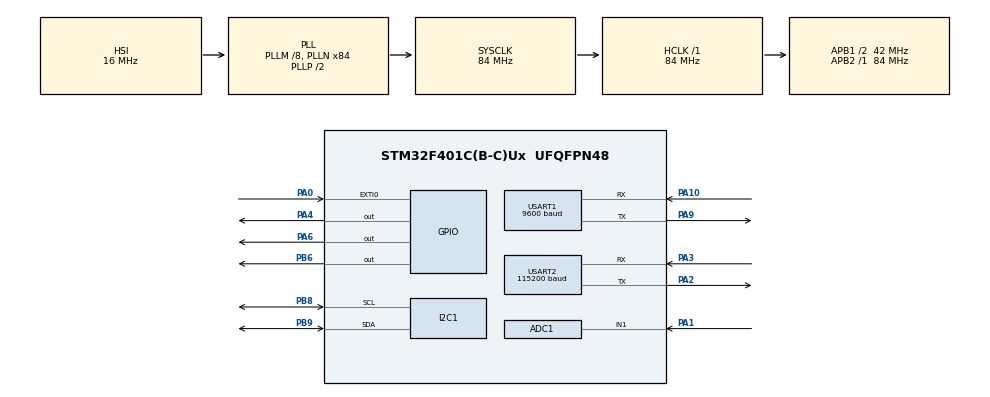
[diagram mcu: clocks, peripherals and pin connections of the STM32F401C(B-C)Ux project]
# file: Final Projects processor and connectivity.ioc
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ADC1.Channel-0\#ChannelRegularConversion=ADC_CHANNEL_1
ADC1.NbrOfConversionFlag=1
ADC1.Rank-0\#ChannelRegularConversion=1
ADC1.SamplingTime-0\#ChannelRegularConversion=ADC_SAMPLETIME_3CYCLES
ADC1.master=1
I2C1.I2C_Mode=I2C_Fast
Mcu.Family=STM32F4
Mcu.Name=STM32F401C(B-C)Ux
Mcu.Package=UFQFPN48
NVIC.EXTI0_IRQn=true\:0\:0\:false\:false\:true\:true\:true\:true
NVIC.PriorityGroup=NVIC_PRIORITYGROUP_4
NVIC.USART1_IRQn=true\:0\:0\:false\:false\:true\:true\:true\:true
PA0-WKUP.Signal=GPXTI0
PA1.Signal=ADCx_IN1
PA10.Mode=Asynchronous
PA10.Signal=USART1_RX
PA13.Mode=Serial_Wire
PA13.Signal=SYS_JTMS-SWDIO
PA14.Mode=Serial_Wire
PA14.Signal=SYS_JTCK-SWCLK
PA2.Mode=Asynchronous
PA2.Signal=USART2_TX
PA3.Mode=Asynchronous
PA3.Signal=USART2_RX
PA4.GPIO_Speed=GPIO_SPEED_FREQ_VERY_HIGH
PA4.Signal=GPIO_Output
PA6.GPIO_Speed=GPIO_SPEED_FREQ_VERY_HIGH
PA6.Signal=GPIO_Output
PA9.Mode=Asynchronous
PA9.Signal=USART1_TX
PB6.Signal=GPIO_Output
PB8.Mode=I2C
PB8.Signal=I2C1_SCL
PB9.Mode=I2C
PB9.Signal=I2C1_SDA
ProjectManager.HeapSize=0x200
ProjectManager.StackSize=0x400
ProjectManager.TargetToolchain=STM32CubeIDE
RCC.48MHZClocksFreq_Value=42000000
RCC.AHBFreq_Value=84000000
RCC.APB1CLKDivider=RCC_HCLK_DIV2
RCC.APB1Freq_Value=42000000
RCC.APB1TimFreq_Value=84000000
RCC.APB2Freq_Value=84000000
RCC.APB2TimFreq_Value=84000000
RCC.CortexFreq_Value=84000000
RCC.HCLKFreq_Value=84000000
RCC.HSE_VALUE=25000000
RCC.HSI_VALUE=16000000
RCC.LSE_VALUE=32768
RCC.PLLM=8
RCC.PLLN=84
RCC.SYSCLKFreq_VALUE=84000000
RCC.SYSCLKSource=RCC_SYSCLKSOURCE_PLLCLK
RCC.VCOOutputFreq_Value=168000000
SH.ADCx_IN1.0=ADC1_IN1,IN1
TIM1.Period=0xffff-1
TIM1.Prescaler=83
USART1.BaudRate=9600
USART1.VirtualMode=VM_ASYNC
USART2.BaudRate=115200
USART2.VirtualMode=VM_ASYNC
VP_TIM1_VS_ClockSourceINT.Mode=Internal
board=custom

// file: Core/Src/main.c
/* USER CODE BEGIN Header */
/**
  ******************************************************************************
  * @file           : main.c
  * @brief          : Main program body
  ******************************************************************************
  * @attention
  *
  * Copyright (c) 2025 STMicroelectronics.
  * All rights reserved.
  *
  * This software is licensed under terms that can be found in the LICENSE file
  * in the root directory of this software component.
  * If no LICENSE file comes with this software, it is provided AS-IS.
  *
  ******************************************************************************
  */
/* USER CODE END Header */
#include "main.h"

/* USER CODE BEGIN Includes */
#include "a7680c.h"
#include "ws2812b.h"  // Add this new include
#include "ssd1306.h"
#include "ssd1306_fonts.h"
#include <stdio.h>
#include <string.h>
/* USER CODE END Includes */

/* USER CODE BEGIN PTD */
typedef enum {
    STATE_NORMAL = 0,
    STATE_INTERRUPT,
	STATE_HOUSEFIRE
} SystemState;
/* USER CODE END PTD */

/* USER CODE BEGIN PD */
#define DHT11_PORT GPIOA
#define DHT11_PIN GPIO_PIN_4

#define PMS_FRAME_LENGTH 32  // PMS7003 truyền mỗi lần 32 byte
#define PMS_HEADER_HIGH   0x42
#define PMS_HEADER_LOW    0x4D

// WS2812B definitions
#define WS2812B_PORT GPIOA
#define WS2812B_PIN GPIO_PIN_6
#define WS2812B_NUM_LEDS 12

#define ADC_TIMEOUT      10
#define ADC_FIRE_THRESH  4000
/* USER CODE END PD */

/* USER CODE BEGIN PM */

volatile SystemState currentState = STATE_NORMAL;

/* USER CODE END PM */

ADC_HandleTypeDef hadc1;

I2C_HandleTypeDef hi2c1;

TIM_HandleTypeDef htim1;

UART_HandleTypeDef huart1;
UART_HandleTypeDef huart2;

/* USER CODE BEGIN PV */
uint8_t temp = 0, hum = 0;
char buffer[32];

uint8_t pms_rx_byte;
uint8_t pms_rx_buffer[PMS_FRAME_LENGTH];
uint8_t pms_index = 0;
uint32_t adc_val;
volatile bool pms_ready_flag = false;

A7680C_Handle sim4g;
/* USER CODE END PV */

void SystemClock_Config(void);
static void MX_GPIO_Init(void);
static void MX_I2C1_Init(void);
static void MX_USART1_UART_Init(void);
static void MX_USART2_UART_Init(void);
static void MX_TIM1_Init(void);
static void MX_ADC1_Init(void);

/* USER CODE BEGIN 0 */
/*********************************** DHT11 PRE FUNCTIONS ********************************************/

void delay_us (uint16_t us)
{
	__HAL_TIM_SET_COUNTER(&htim1,0);  // set the counter value a 0
	while (__HAL_TIM_GET_COUNTER(&htim1) < us);  // wait for the counter to reach the us input in the parameter
}
void DHT_SetPinOutput(void) {
    GPIO_InitTypeDef GPIO_InitStruct = {0};
    GPIO_InitStruct.Pin = DHT11_PIN;
    GPIO_InitStruct.Mode = GPIO_MODE_OUTPUT_PP;
    GPIO_InitStruct.Speed = GPIO_SPEED_FREQ_LOW;
    HAL_GPIO_Init(DHT11_PORT, &GPIO_InitStruct);
}

void DHT_SetPinInput(void) {
    GPIO_InitTypeDef GPIO_InitStruct = {0};
    GPIO_InitStruct.Pin = DHT11_PIN;
    GPIO_InitStruct.Mode = GPIO_MODE_INPUT;
    GPIO_InitStruct.Pull = GPIO_NOPULL;
    HAL_GPIO_Init(DHT11_PORT, &GPIO_InitStruct);
}

/*********************************** DHT11 FUNCTIONS ********************************************/

void DHT11_Start (void)
{

    DHT_SetPinOutput();
    HAL_GPIO_WritePin(DHT11_PORT, DHT11_PIN, GPIO_PIN_RESET);
    HAL_Delay(18);
    HAL_GPIO_WritePin(DHT11_PORT, DHT11_PIN, GPIO_PIN_SET);
    delay_us(30);
    DHT_SetPinInput();
}
void DHT11_Init(void) {
    // Set the DHT11 pin as output and pull high (idle state)
    GPIO_InitTypeDef GPIO_InitStruct = {0};
    GPIO_InitStruct.Pin = DHT11_PIN;
    GPIO_InitStruct.Mode = GPIO_MODE_OUTPUT_PP;
    GPIO_InitStruct.Pull = GPIO_NOPULL;
    GPIO_InitStruct.Speed = GPIO_SPEED_FREQ_LOW;
    HAL_GPIO_Init(DHT11_PORT, &GPIO_InitStruct);

    HAL_GPIO_WritePin(DHT11_PORT, DHT11_PIN, GPIO_PIN_SET);  // Set pin high
}

uint8_t DHT_Read(uint8_t* temperature, uint8_t* humidity) {
    uint8_t data[5] = {0};
    uint8_t i, j;
    uint16_t timeout;

    // Start Signal
    DHT11_Start();

    // Wait for DHT11 response (should go LOW)
    timeout = 0;
    while (HAL_GPIO_ReadPin(DHT11_PORT, DHT11_PIN)) {
        delay_us(1);
        timeout++;
        if (timeout > 100) return 1; // Timeout waiting for response
    }

    // Wait for DHT11 to pull up (80us LOW expected)
    timeout = 0;
    while (!HAL_GPIO_ReadPin(DHT11_PORT, DHT11_PIN)) {
        delay_us(1);
        timeout++;
        if (timeout > 100) return 2; // Timeout waiting for pull up
    }

    // Wait for DHT11 to pull down (80us HIGH expected)
    timeout = 0;
    while (HAL_GPIO_ReadPin(DHT11_PORT, DHT11_PIN)) {
        delay_us(1);
        timeout++;
        if (timeout > 100) return 3; // Timeout waiting for pull down
    }

    // Read 40 bits with better timeout handling
    for (j = 0; j < 5; j++) {
        for (i = 0; i < 8; i++) {
            // Wait for rising edge (signal start)
            timeout = 0;
            while (!HAL_GPIO_ReadPin(DHT11_PORT, DHT11_PIN)) {
                delay_us(1);
                timeout++;
                if (timeout > 60) return 4; // Timeout during bit start
            }

            // Wait ~40us and check pin state
            delay_us(40);

            if (HAL_GPIO_ReadPin(DHT11_PORT, DHT11_PIN))
                data[j] |= (1 << (7 - i));

            // Wait for falling edge (end of bit)
            timeout = 0;
            while (HAL_GPIO_ReadPin(DHT11_PORT, DHT11_PIN)) {
                delay_us(1);
                timeout++;
                if (timeout > 70) return 5; // Timeout during bit end
            }
        }
    }

    // Verify checksum
    if (data[4] != ((data[0] + data[1] + data[2] + data[3]) & 0xFF)) return 6;

    *humidity = data[0];
    *temperature = data[2];
    return 0;
}

/*********************************** PMS7003 FUNCTIONS ********************************************/

uint16_t extract_uint16(uint8_t *data, uint8_t index) {
    return ((uint16_t)data[index] << 8) | data[index + 1];
}

void parse_and_display_pms_data(uint8_t *data) {
    uint16_t pm1_0 = extract_uint16(data, 4);
    uint16_t pm2_5 = extract_uint16(data, 6);
    uint16_t pm10  = extract_uint16(data, 8);

    // Đánh dấu đã nhận được frame hợp lệ đầu tiên
    pms_ready_flag = true;

    // Chỉ cập nhật 3 dòng dữ liệu, tránh làm nhấp nháy toàn màn hình
    char line1[22], line2[22], line3[22];
    snprintf(line1, sizeof(line1), "PM1.0 : %4u ug/m3", pm1_0);
    snprintf(line2, sizeof(line2), "PM2.5 : %4u ug/m3", pm2_5);
    snprintf(line3, sizeof(line3), "PM10  : %4u ug/m3", pm10);

    // Xóa vùng 3 dòng (nếu cần) bằng cách viết khoảng trắng
    ssd1306_FillRectangle(0, 0, 127, 33, Black);

    // Viết lại dữ liệu mới
    ssd1306_SetCursor(0, 0);
    ssd1306_WriteString(line1, Font_7x10, White);
    ssd1306_SetCursor(0, 12);
    ssd1306_WriteString(line2, Font_7x10, White);
    ssd1306_SetCursor(0, 24);
    ssd1306_WriteString(line3, Font_7x10, White);

    ssd1306_UpdateScreen();
}
/**
 * @brief  Kiểm tra header + checksum của frame PMS7003, đồng thời align lại buffer nếu cần.
 * @param  buf: con trỏ đến buffer kích thước PMS_FRAME_LENGTH
 * @param  len: độ dài frame (32)
 * @retval true nếu frame hợp lệ, false nếu phải tìm frame tiếp theo
 */
bool check_and_align_pms_frame(uint8_t *buf, uint8_t len) {
    // 1) Kiểm tra header
    if (buf[0] != PMS_HEADER_HIGH || buf[1] != PMS_HEADER_LOW) {
        // Tìm vị trí header mới trong buffer
        for (int i = 1; i < len - 1; i++) {
            if (buf[i] == PMS_HEADER_HIGH && buf[i+1] == PMS_HEADER_LOW) {
                uint8_t remain = len - i;
                memmove(buf, buf + i, remain);
                pms_index = remain;
                return false;
            }
        }
        // không tìm được header, reset index
        pms_index = 0;
        return false;
    }

    // 2) Tính checksum
    uint16_t calculated = 0;
    for (int i = 0; i < len - 2; i++) {
        calculated += buf[i];
    }
    uint16_t received = extract_uint16(buf, len - 2);
    if (calculated != received) {
        // checksum sai -> tìm header mới
        for (int i = 1; i < len - 1; i++) {
            if (buf[i] == PMS_HEADER_HIGH && buf[i+1] == PMS_HEADER_LOW) {
                uint8_t remain = len - i;
                memmove(buf, buf + i, remain);
                pms_index = remain;
                return false;
            }
        }
        pms_index = 0;
        return false;
    }

    // Frame hợp lệ
    return true;
}

void HAL_UART_RxCpltCallback(UART_HandleTypeDef *huart) {
    if (huart->Instance == USART1) {
        pms_rx_buffer[pms_index++] = pms_rx_byte;

        if (pms_index >= PMS_FRAME_LENGTH) {
            if (check_and_align_pms_frame(pms_rx_buffer, PMS_FRAME_LENGTH)) {
                parse_and_display_pms_data(pms_rx_buffer);
                pms_index = 0;
            }
            // nếu không hợp lệ, pms_index đã được điều chỉnh bên trong hàm
        }

        HAL_UART_Receive_IT(&huart1, &pms_rx_byte, 1);
    }
}

/* USER CODE END 0 */

int main(void)
{

  /* MCU Configuration--------------------------------------------------------*/

  /* Reset of all peripherals, Initializes the Flash interface and the Systick. */
  HAL_Init();

  /* Configure the system clock */
  SystemClock_Config();

  /* Initialize all configured peripherals */
  MX_GPIO_Init();
  MX_I2C1_Init();
  MX_USART1_UART_Init();
  MX_USART2_UART_Init();
  MX_TIM1_Init();
  MX_ADC1_Init();
  /* USER CODE BEGIN 2 */
  WS2812B_Init(WS2812B_PORT, WS2812B_PIN);

  // Initial test pattern - light up all LEDs in rainbow pattern
  WS2812B_Rainbow(WS2812B_PORT, WS2812B_PIN, WS2812B_NUM_LEDS);
  HAL_Delay(1000);

  // Set all LEDs to red initially
  WS2812B_SetAllLEDs(WS2812B_PORT, WS2812B_PIN, RED, WS2812B_NUM_LEDS);

  // Set tất cả là màu đỏ
  ssd1306_Init();
  ssd1306_SetCursor(0, 0);
  ssd1306_WriteString("Initialize", Font_7x10, White);
  ssd1306_UpdateScreen();
  HAL_Delay(1000);

  ssd1306_Fill(Black);
  ssd1306_SetCursor(0, 0);
  ssd1306_WriteString("Module      Status", Font_7x10, White);
  ssd1306_SetCursor(0, 18);
  ssd1306_WriteString("DHT11          .", Font_7x10, White);
  ssd1306_SetCursor(0, 28);
  ssd1306_WriteString("A7680c         .", Font_7x10, White);
  ssd1306_SetCursor(0, 38);
  ssd1306_WriteString("SIM card       .", Font_7x10, White);
  ssd1306_SetCursor(0, 48);
  ssd1306_WriteString("PMS7003        .", Font_7x10, White);
  ssd1306_UpdateScreen();
  HAL_Delay(500);

  ssd1306_Fill(Black);
  ssd1306_SetCursor(0, 0);
  ssd1306_WriteString("Module      Status", Font_7x10, White);
  ssd1306_SetCursor(0, 18);
  ssd1306_WriteString("DHT11          ..", Font_7x10, White);
  ssd1306_SetCursor(0, 28);
  ssd1306_WriteString("A7680c         ..", Font_7x10, White);
  ssd1306_SetCursor(0, 38);
  ssd1306_WriteString("SIM card       ..", Font_7x10, White);
  ssd1306_SetCursor(0, 48);
  ssd1306_WriteString("PMS7003        ..", Font_7x10, White);
  ssd1306_UpdateScreen();
  HAL_Delay(500);

  ssd1306_Fill(Black);
  ssd1306_SetCursor(0, 0);
  ssd1306_WriteString("Module      Status", Font_7x10, White);
  ssd1306_SetCursor(0, 18);
  ssd1306_WriteString("DHT11          ...", Font_7x10, White);
  ssd1306_SetCursor(0, 28);
  ssd1306_WriteString("A7680c         ...", Font_7x10, White);
  ssd1306_SetCursor(0, 38);
  ssd1306_WriteString("SIM card       ...", Font_7x10, White);
  ssd1306_SetCursor(0, 48);
  ssd1306_WriteString("PMS7003        ...", Font_7x10, White);

  ssd1306_UpdateScreen();
  HAL_Delay(500);

  HAL_TIM_Base_Start(&htim1); // Bắt đầu Timer cho delay_us
  DHT11_Init();
  A7680C_Init(&sim4g, &huart2);

  if (DHT_Read(&temp, &hum) == 0){
	  ssd1306_SetCursor(0, 18);
	  ssd1306_WriteString("DHT11           OK", Font_7x10, White);
	  ssd1306_UpdateScreen();
      // Update LED status - first 3 LEDs green
      RGB_Color ledStatus[WS2812B_NUM_LEDS] = {0};
      for (int i = 0; i < 3; i++) ledStatus[i] = GREEN;
      for (int i = 3; i < WS2812B_NUM_LEDS; i++) ledStatus[i] = RED;
      WS2812B_SetLED(WS2812B_PORT, WS2812B_PIN, ledStatus, WS2812B_NUM_LEDS);
	  HAL_Delay(500);
  }

  if (A7680C_SendCommand(&sim4g, "AT", "OK", 1000)) {
	  ssd1306_SetCursor(0, 28);
	  ssd1306_WriteString("A7680c          OK", Font_7x10, White);
	  ssd1306_UpdateScreen();
      // Update LED status - next 3 LEDs green
      RGB_Color ledStatus[WS2812B_NUM_LEDS] = {0};
      for (int i = 0; i < 6; i++) ledStatus[i] = GREEN;
      for (int i = 6; i < WS2812B_NUM_LEDS; i++) ledStatus[i] = RED;
      WS2812B_SetLED(WS2812B_PORT, WS2812B_PIN, ledStatus, WS2812B_NUM_LEDS);
	  HAL_Delay(500);
  }
  if (A7680C_CheckSIMReady(&sim4g)) {
      // SIM is ready, proceed
	  ssd1306_SetCursor(0, 38);
	  ssd1306_WriteString("SIM card        OK", Font_7x10, White);
	  ssd1306_UpdateScreen();
      // Update LED status - next 3 LEDs green
      RGB_Color ledStatus[WS2812B_NUM_LEDS] = {0};
      for (int i = 0; i < 9; i++) ledStatus[i] = GREEN;
      for (int i = 9; i < WS2812B_NUM_LEDS; i++) ledStatus[i] = RED;
      WS2812B_SetLED(WS2812B_PORT, WS2812B_PIN, ledStatus, WS2812B_NUM_LEDS);
	  HAL_Delay(500);
  }
  if (A7680C_SendSMS(&sim4g, "0848177013", "SMS Check OK")) {
      // success
  }

  if (HAL_UART_Receive(&huart1, &pms_rx_byte, 1, 10) == HAL_OK) {
      // Có dữ liệu nhận được -> Hiển thị thông báo OK
      ssd1306_SetCursor(0, 48);
      ssd1306_WriteString("PMS7003         OK", Font_7x10, White);
      ssd1306_UpdateScreen();
	  //set 3 đèn cuối màu xanh
      WS2812B_SetAllLEDs(WS2812B_PORT, WS2812B_PIN, GREEN, WS2812B_NUM_LEDS);
      HAL_UART_Receive_IT(&huart1, &pms_rx_byte, 1);
      HAL_Delay(500);
  }
  /* USER CODE END 2 */

  /* Infinite loop */
  while (1)
  {

    /* USER CODE BEGIN 3 */
      // ADC-based alarm check
      HAL_ADC_Start(&hadc1);
      if (HAL_ADC_PollForConversion(&hadc1, ADC_TIMEOUT) == HAL_OK) {
          adc_val = HAL_ADC_GetValue(&hadc1);
          if (adc_val > ADC_FIRE_THRESH) {
              currentState = STATE_HOUSEFIRE;
          }
      }
      HAL_ADC_Stop(&hadc1);

      switch (currentState) {
          case STATE_NORMAL:
              // Normal periodic sensor update
	    ssd1306_FillRectangle(0, 34, 127, 63, Black);

	    // Try up to 3 times to get a valid reading
	    uint8_t status = 255;
	    uint8_t retry_count = 0;

	    while (retry_count < 3 && status != 0) {
	        status = DHT_Read(&temp, &hum);
	        if (status != 0) {
	            HAL_Delay(500); // Wait before retry
	        }
	        retry_count++;
	    }

	    if (status == 0) {
	        sprintf(buffer, "Temp: %d C", temp);
	        ssd1306_SetCursor(0, 36);
	        ssd1306_WriteString(buffer, Font_7x10, White);
	        sprintf(buffer, "Humi: %d %%", hum);
	        ssd1306_SetCursor(0, 48);
	        ssd1306_WriteString(buffer, Font_7x10, White);
	        // Hiển thị giá trị ADC
	        sprintf(buffer, "ADC : %lu", adc_val);
	        ssd1306_SetCursor(0, 58);
	        ssd1306_WriteString(buffer, Font_6x8, White);
	    }
	    else {
	        ssd1306_SetCursor(0, 36);
	        sprintf(buffer, "DHT11 Error: %d", status);
	        ssd1306_WriteString(buffer, Font_7x10, White);
	    }
	    ssd1306_UpdateScreen();
        RGB_Color statusColor;
        if (temp < 25) statusColor = GREEN;       // Cool
        else if (temp < 30) statusColor = YELLOW; // Moderate
        else statusColor = RED;                   // Hot
        WS2812B_SetAllLEDs(WS2812B_PORT, WS2812B_PIN, statusColor, WS2812B_NUM_LEDS);
	    HAL_Delay(1000);
        break;

    case STATE_INTERRUPT:
        // Disable UART1 receive interrupt
        HAL_UART_AbortReceive_IT(&huart1);

        // Flash LEDs to signal interrupt
        for (int i = 0; i < 10; i++) {
            RGB_Color ledPattern[WS2812B_NUM_LEDS];
            for (int i = 0; i < WS2812B_NUM_LEDS; i++) {
                ledPattern[i] = (i < WS2812B_NUM_LEDS/2) ? BLUE : RED;
            }
            WS2812B_SetLED(WS2812B_PORT, WS2812B_PIN, ledPattern, WS2812B_NUM_LEDS);
            ssd1306_Fill(Black);
            ssd1306_UpdateScreen();
            HAL_GPIO_WritePin(GPIOB, GPIO_PIN_6, GPIO_PIN_SET); // Bật còi
            HAL_Delay(500);

            // Invert colors
            for (int i = 0; i < WS2812B_NUM_LEDS; i++) {
                ledPattern[i] = (i < WS2812B_NUM_LEDS/2) ? RED : BLUE;
            }
            WS2812B_SetLED(WS2812B_PORT, WS2812B_PIN, ledPattern, WS2812B_NUM_LEDS);
            ssd1306_Fill(White);
            ssd1306_UpdateScreen();
            HAL_GPIO_WritePin(GPIOB, GPIO_PIN_6, GPIO_PIN_RESET); // Tắt còi
            HAL_Delay(500);

        }
        A7680C_SendSMS(&sim4g, "0848177013", "Warning!!!! Earthquake!");
        // Re-enable UART1 interrupt before returning
        HAL_UART_Receive_IT(&huart1, &pms_rx_byte, 1);

        // Return to normal state
        currentState = STATE_NORMAL;
        break;

    case STATE_HOUSEFIRE:
        // Disable UART1 receive interrupt
        HAL_UART_AbortReceive_IT(&huart1);

        // Flash LEDs to signal interrupt
        for (int i = 0; i < 10; i++) {
            RGB_Color ledPattern[WS2812B_NUM_LEDS];
            for (int i = 0; i < WS2812B_NUM_LEDS; i++) {
                ledPattern[i] = (i < WS2812B_NUM_LEDS/2) ? BLUE : RED;
            }
            WS2812B_SetLED(WS2812B_PORT, WS2812B_PIN, ledPattern, WS2812B_NUM_LEDS);
            ssd1306_Fill(Black);
            ssd1306_UpdateScreen();
            HAL_GPIO_WritePin(GPIOB, GPIO_PIN_6, GPIO_PIN_SET); // Bật còi
            HAL_Delay(500);

            // Invert colors
            for (int i = 0; i < WS2812B_NUM_LEDS; i++) {
                ledPattern[i] = (i < WS2812B_NUM_LEDS/2) ? RED : BLUE;
            }
            WS2812B_SetLED(WS2812B_PORT, WS2812B_PIN, ledPattern, WS2812B_NUM_LEDS);
            ssd1306_Fill(White);
            ssd1306_UpdateScreen();
            HAL_GPIO_WritePin(GPIOB, GPIO_PIN_6, GPIO_PIN_RESET); // Tắt còi
            HAL_Delay(500);
        }
        A7680C_SendSMS(&sim4g, "0848177013", "Warning!!!! House fire!");
        // Re-enable UART1 interrupt before returning
        HAL_UART_Receive_IT(&huart1, &pms_rx_byte, 1);

        // Return to normal state
        currentState = STATE_NORMAL;
        break;

    default:
        currentState = STATE_NORMAL;
        break;
      }
  }
  /* USER CODE END 3 */
}

void SystemClock_Config(void)
{
  RCC_OscInitTypeDef RCC_OscInitStruct = {0};
  RCC_ClkInitTypeDef RCC_ClkInitStruct = {0};

  /** Configure the main internal regulator output voltage
  */
  __HAL_RCC_PWR_CLK_ENABLE();
  __HAL_PWR_VOLTAGESCALING_CONFIG(PWR_REGULATOR_VOLTAGE_SCALE2);

  /** Initializes the RCC Oscillators according to the specified parameters
  * in the RCC_OscInitTypeDef structure.
  */
  RCC_OscInitStruct.OscillatorType = RCC_OSCILLATORTYPE_HSI;
  RCC_OscInitStruct.HSIState = RCC_HSI_ON;
  RCC_OscInitStruct.HSICalibrationValue = RCC_HSICALIBRATION_DEFAULT;
  RCC_OscInitStruct.PLL.PLLState = RCC_PLL_ON;
  RCC_OscInitStruct.PLL.PLLSource = RCC_PLLSOURCE_HSI;
  RCC_OscInitStruct.PLL.PLLM = 8;
  RCC_OscInitStruct.PLL.PLLN = 84;
  RCC_OscInitStruct.PLL.PLLP = RCC_PLLP_DIV2;
  RCC_OscInitStruct.PLL.PLLQ = 4;
  if (HAL_RCC_OscConfig(&RCC_OscInitStruct) != HAL_OK)
  {
    Error_Handler();
  }

  /** Initializes the CPU, AHB and APB buses clocks
  */
  RCC_ClkInitStruct.ClockType = RCC_CLOCKTYPE_HCLK|RCC_CLOCKTYPE_SYSCLK
                              |RCC_CLOCKTYPE_PCLK1|RCC_CLOCKTYPE_PCLK2;
  RCC_ClkInitStruct.SYSCLKSource = RCC_SYSCLKSOURCE_PLLCLK;
  RCC_ClkInitStruct.AHBCLKDivider = RCC_SYSCLK_DIV1;
  RCC_ClkInitStruct.APB1CLKDivider = RCC_HCLK_DIV2;
  RCC_ClkInitStruct.APB2CLKDivider = RCC_HCLK_DIV1;

  if (HAL_RCC_ClockConfig(&RCC_ClkInitStruct, FLASH_LATENCY_2) != HAL_OK)
  {
    Error_Handler();
  }
}

static void MX_ADC1_Init(void)
{

  ADC_ChannelConfTypeDef sConfig = {0};

  /** Configure the global features of the ADC (Clock, Resolution, Data Alignment and number of conversion)
  */
  hadc1.Instance = ADC1;
  hadc1.Init.ClockPrescaler = ADC_CLOCK_SYNC_PCLK_DIV4;
  hadc1.Init.Resolution = ADC_RESOLUTION_12B;
  hadc1.Init.ScanConvMode = DISABLE;
  hadc1.Init.ContinuousConvMode = DISABLE;
  hadc1.Init.DiscontinuousConvMode = DISABLE;
  hadc1.Init.ExternalTrigConvEdge = ADC_EXTERNALTRIGCONVEDGE_NONE;
  hadc1.Init.ExternalTrigConv = ADC_SOFTWARE_START;
  hadc1.Init.DataAlign = ADC_DATAALIGN_RIGHT;
  hadc1.Init.NbrOfConversion = 1;
  hadc1.Init.DMAContinuousRequests = DISABLE;
  hadc1.Init.EOCSelection = ADC_EOC_SINGLE_CONV;
  if (HAL_ADC_Init(&hadc1) != HAL_OK)
  {
    Error_Handler();
  }

  /** Configure for the selected ADC regular channel its corresponding rank in the sequencer and its sample time.
  */
  sConfig.Channel = ADC_CHANNEL_1;
  sConfig.Rank = 1;
  sConfig.SamplingTime = ADC_SAMPLETIME_3CYCLES;
  if (HAL_ADC_ConfigChannel(&hadc1, &sConfig) != HAL_OK)
  {
    Error_Handler();
  }

}

static void MX_I2C1_Init(void)
{

  hi2c1.Instance = I2C1;
  hi2c1.Init.ClockSpeed = 400000;
  hi2c1.Init.DutyCycle = I2C_DUTYCYCLE_2;
  hi2c1.Init.OwnAddress1 = 0;
  hi2c1.Init.AddressingMode = I2C_ADDRESSINGMODE_7BIT;
  hi2c1.Init.DualAddressMode = I2C_DUALADDRESS_DISABLE;
  hi2c1.Init.OwnAddress2 = 0;
  hi2c1.Init.GeneralCallMode = I2C_GENERALCALL_DISABLE;
  hi2c1.Init.NoStretchMode = I2C_NOSTRETCH_DISABLE;
  if (HAL_I2C_Init(&hi2c1) != HAL_OK)
  {
    Error_Handler();
  }

}

static void MX_TIM1_Init(void)
{

  TIM_ClockConfigTypeDef sClockSourceConfig = {0};
  TIM_MasterConfigTypeDef sMasterConfig = {0};

  htim1.Instance = TIM1;
  htim1.Init.Prescaler = 83;
  htim1.Init.CounterMode = TIM_COUNTERMODE_UP;
  htim1.Init.Period = 0xffff-1;
  htim1.Init.ClockDivision = TIM_CLOCKDIVISION_DIV1;
  htim1.Init.RepetitionCounter = 0;
  htim1.Init.AutoReloadPreload = TIM_AUTORELOAD_PRELOAD_DISABLE;
  if (HAL_TIM_Base_Init(&htim1) != HAL_OK)
  {
    Error_Handler();
  }
  sClockSourceConfig.ClockSource = TIM_CLOCKSOURCE_INTERNAL;
  if (HAL_TIM_ConfigClockSource(&htim1, &sClockSourceConfig) != HAL_OK)
  {
    Error_Handler();
  }
  sMasterConfig.MasterOutputTrigger = TIM_TRGO_RESET;
  sMasterConfig.MasterSlaveMode = TIM_MASTERSLAVEMODE_DISABLE;
  if (HAL_TIMEx_MasterConfigSynchronization(&htim1, &sMasterConfig) != HAL_OK)
  {
    Error_Handler();
  }

}

static void MX_USART1_UART_Init(void)
{

  huart1.Instance = USART1;
  huart1.Init.BaudRate = 9600;
  huart1.Init.WordLength = UART_WORDLENGTH_8B;
  huart1.Init.StopBits = UART_STOPBITS_1;
  huart1.Init.Parity = UART_PARITY_NONE;
  huart1.Init.Mode = UART_MODE_TX_RX;
  huart1.Init.HwFlowCtl = UART_HWCONTROL_NONE;
  huart1.Init.OverSampling = UART_OVERSAMPLING_16;
  if (HAL_UART_Init(&huart1) != HAL_OK)
  {
    Error_Handler();
  }

}

static void MX_USART2_UART_Init(void)
{

  huart2.Instance = USART2;
  huart2.Init.BaudRate = 115200;
  huart2.Init.WordLength = UART_WORDLENGTH_8B;
  huart2.Init.StopBits = UART_STOPBITS_1;
  huart2.Init.Parity = UART_PARITY_NONE;
  huart2.Init.Mode = UART_MODE_TX_RX;
  huart2.Init.HwFlowCtl = UART_HWCONTROL_NONE;
  huart2.Init.OverSampling = UART_OVERSAMPLING_16;
  if (HAL_UART_Init(&huart2) != HAL_OK)
  {
    Error_Handler();
  }

}

static void MX_GPIO_Init(void)
{
  GPIO_InitTypeDef GPIO_InitStruct = {0};

  /* GPIO Ports Clock Enable */
  __HAL_RCC_GPIOA_CLK_ENABLE();
  __HAL_RCC_GPIOB_CLK_ENABLE();

  /*Configure GPIO pin Output Level */
  HAL_GPIO_WritePin(GPIOA, GPIO_PIN_4|GPIO_PIN_6, GPIO_PIN_RESET);

  /*Configure GPIO pin Output Level */
  HAL_GPIO_WritePin(GPIOB, GPIO_PIN_6, GPIO_PIN_RESET);

  /*Configure GPIO pin : PA0 */
  GPIO_InitStruct.Pin = GPIO_PIN_0;
  GPIO_InitStruct.Mode = GPIO_MODE_IT_RISING;
  GPIO_InitStruct.Pull = GPIO_NOPULL;
  HAL_GPIO_Init(GPIOA, &GPIO_InitStruct);

  /*Configure GPIO pins : PA4 PA6 */
  GPIO_InitStruct.Pin = GPIO_PIN_4|GPIO_PIN_6;
  GPIO_InitStruct.Mode = GPIO_MODE_OUTPUT_PP;
  GPIO_InitStruct.Pull = GPIO_NOPULL;
  GPIO_InitStruct.Speed = GPIO_SPEED_FREQ_VERY_HIGH;
  HAL_GPIO_Init(GPIOA, &GPIO_InitStruct);

  /*Configure GPIO pin : PB6 */
  GPIO_InitStruct.Pin = GPIO_PIN_6;
  GPIO_InitStruct.Mode = GPIO_MODE_OUTPUT_PP;
  GPIO_InitStruct.Pull = GPIO_NOPULL;
  GPIO_InitStruct.Speed = GPIO_SPEED_FREQ_LOW;
  HAL_GPIO_Init(GPIOB, &GPIO_InitStruct);

  /* EXTI interrupt init*/
  HAL_NVIC_SetPriority(EXTI0_IRQn, 0, 0);
  HAL_NVIC_EnableIRQ(EXTI0_IRQn);

}

/* USER CODE BEGIN 4 */
void HAL_GPIO_EXTI_Callback(uint16_t GPIO_Pin)
{
    if (GPIO_Pin == GPIO_PIN_0) {
        // Signal interrupt state
        currentState = STATE_INTERRUPT;
        //STATE_INTERRUPT
        //STATE_NORMAL
    }
}
/* USER CODE END 4 */

void Error_Handler(void)
{
  __disable_irq();
  while (1)
  {
  }
}
